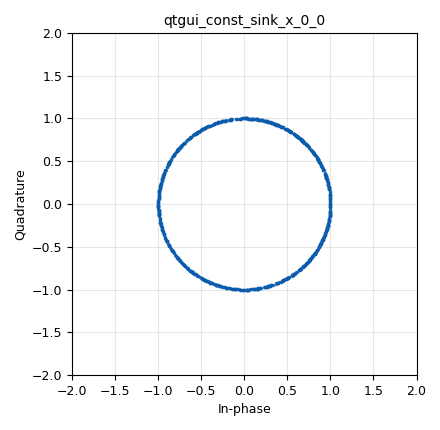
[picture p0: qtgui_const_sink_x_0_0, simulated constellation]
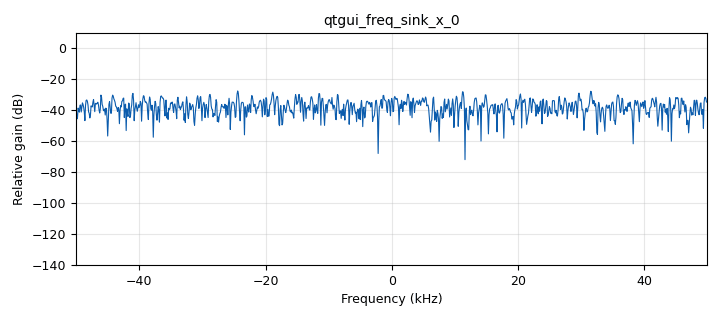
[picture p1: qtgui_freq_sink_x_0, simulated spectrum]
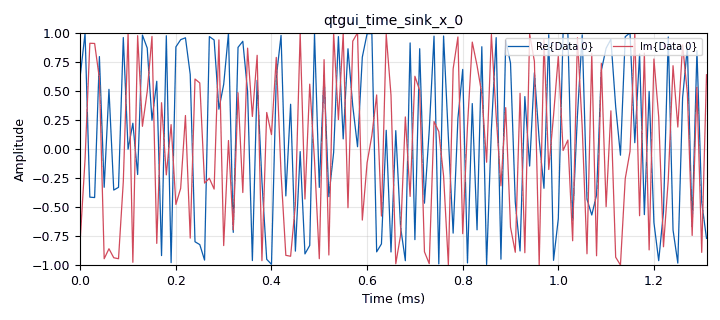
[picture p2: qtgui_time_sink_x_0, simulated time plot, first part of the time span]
<?xml version='1.0' encoding='utf-8'?>
<?grc format='1' created='3.7.9'?>
<flow_graph>
<block>
<key>options</key>
<param><key>id</key><value>top_block</value></param>
<param><key>category</key><value>Custom</value></param>
<param><key>generate_options</key><value>qt_gui</value></param>
</block>
<block>
<key>variable</key>
<param><key>id</key><value>samp_rate</value></param>
<param><key>value</key><value>100000</value></param>
</block>
<block>
<key>analog_const_source_x</key>
<param><key>id</key><value>analog_const_source_x_0</value></param>
<param><key>const</key><value>3.14</value></param>
<param><key>type</key><value>float</value></param>
</block>
<block>
<key>analog_noise_source_x</key>
<param><key>id</key><value>analog_noise_source_x_0</value></param>
<param><key>amp</key><value>6.28</value></param>
<param><key>noise_type</key><value>analog.GR_UNIFORM</value></param>
<param><key>type</key><value>float</value></param>
<param><key>seed</key><value>0</value></param>
</block>
<block>
<key>analog_phase_modulator_fc</key>
<param><key>id</key><value>analog_phase_modulator_fc_0</value></param>
<param><key>sensitivity</key><value>1</value></param>
</block>
<block>
<key>blocks_file_source</key>
<param><key>id</key><value>blocks_file_source_0</value></param>
<param><key>_enabled</key><value>0</value></param>
<param><key>file</key><value>/home/rollo/code/piradar/code-l10000-b10-000000.bin</value></param>
<param><key>type</key><value>complex</value></param>
<param><key>repeat</key><value>False</value></param>
</block>
<block>
<key>blocks_sub_xx</key>
<param><key>id</key><value>blocks_sub_xx_0</value></param>
<param><key>type</key><value>float</value></param>
</block>
<block>
<key>blocks_throttle</key>
<param><key>id</key><value>blocks_throttle_0</value></param>
<param><key>_enabled</key><value>0</value></param>
<param><key>samples_per_second</key><value>samp_rate</value></param>
<param><key>type</key><value>complex</value></param>
</block>
<block>
<key>blocks_throttle</key>
<param><key>id</key><value>blocks_throttle_0_0</value></param>
<param><key>samples_per_second</key><value>samp_rate</value></param>
<param><key>type</key><value>complex</value></param>
</block>
<block>
<key>channels_selective_fading_model</key>
<param><key>id</key><value>channels_selective_fading_model_0</value></param>
<param><key>_enabled</key><value>2</value></param>
<param><key>LOS</key><value>False</value></param>
<param><key>fDTs</key><value>10.0/samp_rate</value></param>
<param><key>N</key><value>8</value></param>
<param><key>ntaps</key><value>8</value></param>
<param><key>delays</key><value>0.0,0.1,1.3</value></param>
<param><key>mags</key><value>1,0.99,0.97</value></param>
<param><key>seed</key><value>0</value></param>
</block>
<block>
<key>qtgui_const_sink_x</key>
<param><key>id</key><value>qtgui_const_sink_x_0</value></param>
<param><key>comment</key><value>Should appear as uniformly distributed ring 
as signal is psuedorandom Phase Modulation</value></param>
<param><key>_enabled</key><value>0</value></param>
<param><key>size</key><value>1024</value></param>
<param><key>type</key><value>complex</value></param>
</block>
<block>
<key>qtgui_const_sink_x</key>
<param><key>id</key><value>qtgui_const_sink_x_0_0</value></param>
<param><key>comment</key><value>Should appear as uniformly distributed ring 
as signal is psuedorandom Phase Modulation</value></param>
<param><key>style1</key><value>1</value></param>
<param><key>size</key><value>1024</value></param>
<param><key>type</key><value>complex</value></param>
</block>
<block>
<key>qtgui_freq_sink_x</key>
<param><key>id</key><value>qtgui_freq_sink_x_0</value></param>
<param><key>bw</key><value>samp_rate</value></param>
<param><key>fc</key><value>0</value></param>
<param><key>ctrlpanel</key><value>True</value></param>
<param><key>fftsize</key><value>1024</value></param>
<param><key>showports</key><value>True</value></param>
<param><key>type</key><value>complex</value></param>
<param><key>wintype</key><value>firdes.WIN_BLACKMAN_hARRIS</value></param>
</block>
<block>
<key>qtgui_time_sink_x</key>
<param><key>id</key><value>qtgui_time_sink_x_0</value></param>
<param><key>ctrlpanel</key><value>True</value></param>
<param><key>color1</key><value>"blue"</value></param>
<param><key>label1</key><value></value></param>
<param><key>color2</key><value>"red"</value></param>
<param><key>label2</key><value></value></param>
<param><key>size</key><value>1024</value></param>
<param><key>srate</key><value>samp_rate</value></param>
<param><key>type</key><value>complex</value></param>
</block>
<connection><source_block_id>analog_const_source_x_0</source_block_id><sink_block_id>blocks_sub_xx_0</sink_block_id><source_key>0</source_key><sink_key>1</sink_key></connection>
<connection><source_block_id>analog_noise_source_x_0</source_block_id><sink_block_id>blocks_sub_xx_0</sink_block_id><source_key>0</source_key><sink_key>0</sink_key></connection>
<connection><source_block_id>analog_phase_modulator_fc_0</source_block_id><sink_block_id>channels_selective_fading_model_0</sink_block_id><source_key>0</source_key><sink_key>0</sink_key></connection>
<connection><source_block_id>blocks_file_source_0</source_block_id><sink_block_id>blocks_throttle_0</sink_block_id><source_key>0</source_key><sink_key>0</sink_key></connection>
<connection><source_block_id>blocks_sub_xx_0</source_block_id><sink_block_id>analog_phase_modulator_fc_0</sink_block_id><source_key>0</source_key><sink_key>0</sink_key></connection>
<connection><source_block_id>blocks_throttle_0</source_block_id><sink_block_id>qtgui_const_sink_x_0</sink_block_id><source_key>0</source_key><sink_key>0</sink_key></connection>
<connection><source_block_id>blocks_throttle_0_0</source_block_id><sink_block_id>qtgui_const_sink_x_0_0</sink_block_id><source_key>0</source_key><sink_key>0</sink_key></connection>
<connection><source_block_id>blocks_throttle_0_0</source_block_id><sink_block_id>qtgui_freq_sink_x_0</sink_block_id><source_key>0</source_key><sink_key>0</sink_key></connection>
<connection><source_block_id>blocks_throttle_0_0</source_block_id><sink_block_id>qtgui_time_sink_x_0</sink_block_id><source_key>0</source_key><sink_key>0</sink_key></connection>
<connection><source_block_id>channels_selective_fading_model_0</source_block_id><sink_block_id>blocks_throttle_0_0</sink_block_id><source_key>0</source_key><sink_key>0</sink_key></connection>
</flow_graph>
